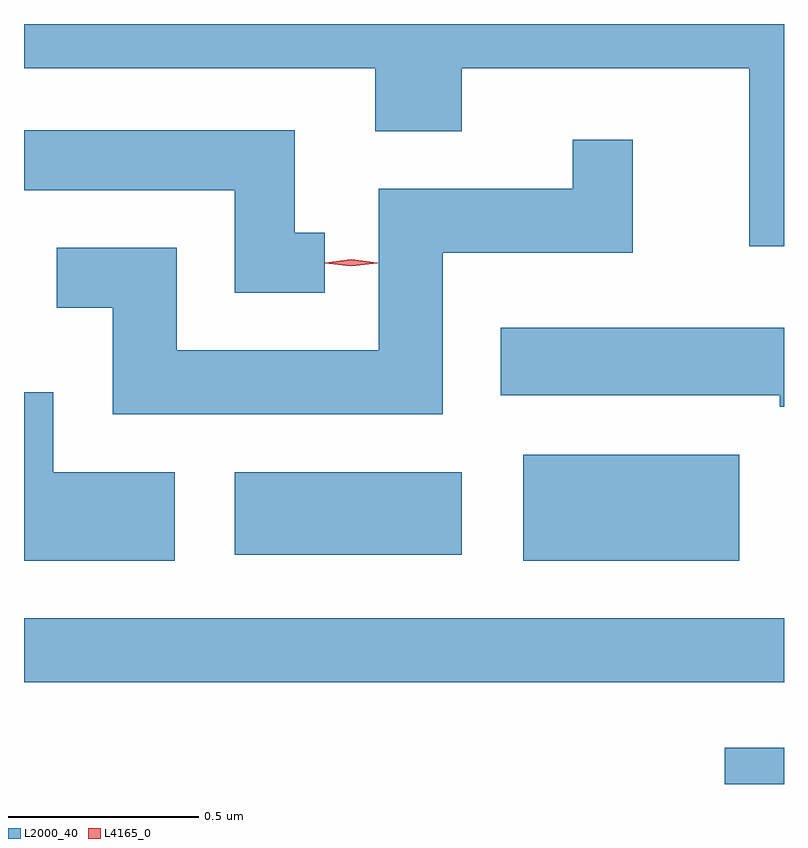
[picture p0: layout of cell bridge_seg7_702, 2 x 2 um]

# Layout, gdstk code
import gdstk
lib = gdstk.Library(unit=1e-6, precision=1e-09)
def R(c, l, rs):  # rectangles x0, y0, x1, y1
    for r in rs: c.add(gdstk.rectangle(r[:2], r[2:], *l))
def P(c, l, *ps):  # polygons
    for p in ps: c.add(gdstk.Polygon(p, *l))
L2000_40 = (2000, 40)
L4165_0 = (4165, 0)

bridge_seg7_702 = lib.new_cell('bridge_seg7_702')
R(bridge_seg7_702, L2000_40, [(966.591,1685.793,966.747,1685.889), (964.747,1686.061,966.747,1686.229), (966.061,1686.381,966.629,1686.659), (965.301,1686.396,965.899,1686.614)])
P(bridge_seg7_702, L2000_40, [(966.747,1687.793),(964.747,1687.793),(964.747,1687.676),(965.671,1687.676),(965.671,1687.511),(965.899,1687.511),(965.899,1687.676),(966.656,1687.676),(966.656,1687.208),(966.747,1687.208)],
  [(965.538,1687.244),(965.459,1687.244),(965.459,1687.514),(964.747,1687.514),(964.747,1687.356),(965.301,1687.356),(965.301,1687.086),(965.538,1687.086)],
  [(965.849,1687.191),(966.349,1687.191),(966.349,1687.488),(966.191,1687.488),(966.191,1687.359),(965.681,1687.359),(965.681,1686.934),(965.149,1686.934),(965.149,1687.204),(964.833,1687.204),(964.833,1687.046),(964.981,1687.046),(964.981,1686.766),(965.849,1686.766)],
  [(966.747,1686.994),(966.001,1686.994),(966.001,1686.816),(966.736,1686.816),(966.736,1686.786),(966.747,1686.786)],
  [(965.144,1686.614),(964.824,1686.614),(964.824,1686.824),(964.747,1686.824),(964.747,1686.381),(965.144,1686.381)])
P(bridge_seg7_702, L4165_0, [(965.608,1687.155),(965.539,1687.164),(965.539,1687.165),(965.539,1687.165),(965.608,1687.174),(965.678,1687.165),(965.678,1687.164),(965.678,1687.164)])

lib.write_gds('bridge_seg7_702.gds')
